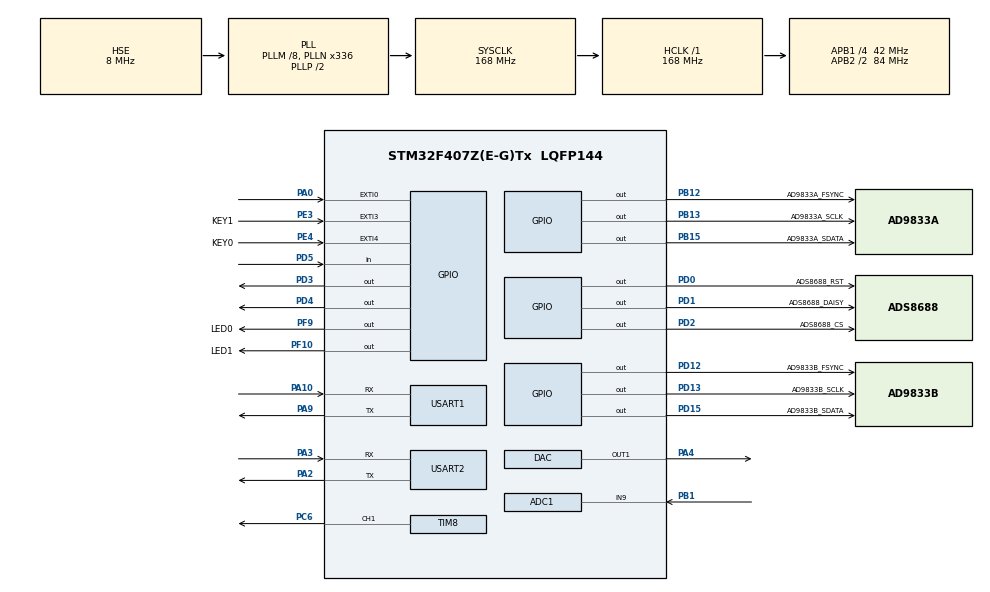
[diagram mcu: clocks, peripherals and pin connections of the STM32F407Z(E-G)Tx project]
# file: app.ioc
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ADC1.Channel-0\#ChannelRegularConversion=ADC_CHANNEL_9
ADC1.ExternalTrigConv=ADC_EXTERNALTRIGCONV_T3_TRGO
ADC1.NbrOfConversionFlag=1
ADC1.Rank-0\#ChannelRegularConversion=1
ADC1.SamplingTime-0\#ChannelRegularConversion=ADC_SAMPLETIME_3CYCLES
ADC1.master=1
Dma.ADC1.0.Direction=DMA_PERIPH_TO_MEMORY
Dma.ADC1.0.FIFOMode=DMA_FIFOMODE_DISABLE
Dma.ADC1.0.Instance=DMA2_Stream0
Dma.ADC1.0.MemDataAlignment=DMA_MDATAALIGN_HALFWORD
Dma.ADC1.0.MemInc=DMA_MINC_ENABLE
Dma.ADC1.0.Mode=DMA_NORMAL
Dma.ADC1.0.PeriphDataAlignment=DMA_PDATAALIGN_HALFWORD
Dma.ADC1.0.PeriphInc=DMA_PINC_DISABLE
Dma.ADC1.0.Priority=DMA_PRIORITY_HIGH
Dma.Request0=ADC1
Mcu.Family=STM32F4
Mcu.Name=STM32F407Z(E-G)Tx
Mcu.Package=LQFP144
NVIC.DMA2_Stream0_IRQn=true\:0\:0\:false\:false\:true\:false\:true\:true
NVIC.EXTI0_IRQn=true\:0\:0\:false\:false\:true\:true\:true\:true
NVIC.EXTI3_IRQn=true\:0\:0\:false\:false\:true\:true\:true\:true
NVIC.EXTI4_IRQn=true\:0\:0\:false\:false\:true\:true\:true\:true
NVIC.PriorityGroup=NVIC_PRIORITYGROUP_4
NVIC.TIM7_IRQn=true\:0\:0\:true\:false\:true\:true\:true\:true
NVIC.USART1_IRQn=true\:0\:0\:false\:false\:true\:true\:true\:true
NVIC.USART2_IRQn=true\:0\:0\:false\:false\:true\:true\:true\:true
PA0-WKUP.GPIO_ModeDefaultEXTI=GPIO_MODE_IT_RISING
PA0-WKUP.GPIO_PuPd=GPIO_PULLDOWN
PA0-WKUP.Signal=GPXTI0
PA10.GPIO_PuPd=GPIO_PULLUP
PA10.Mode=Asynchronous
PA10.Signal=USART1_RX
PA13.Mode=Serial_Wire
PA13.Signal=SYS_JTMS-SWDIO
PA14.Mode=Serial_Wire
PA14.Signal=SYS_JTCK-SWCLK
PA2.Mode=Asynchronous
PA2.Signal=USART2_TX
PA3.GPIO_PuPd=GPIO_PULLUP
PA3.GPIO_Speed=GPIO_SPEED_FREQ_VERY_HIGH
PA3.Mode=Asynchronous
PA3.Signal=USART2_RX
PA4.Signal=COMP_DAC1_group
PA9.Mode=Asynchronous
PA9.Signal=USART1_TX
PB1.Signal=ADCx_IN9
PB12.GPIO_Label=AD9833A_FSYNC
PB12.GPIO_Speed=GPIO_SPEED_FREQ_VERY_HIGH
PB12.Signal=GPIO_Output
PB13.GPIO_Label=AD9833A_SCLK
PB13.GPIO_Speed=GPIO_SPEED_FREQ_VERY_HIGH
PB13.Signal=GPIO_Output
PB15.GPIO_Label=AD9833A_SDATA
PB15.GPIO_Speed=GPIO_SPEED_FREQ_VERY_HIGH
PB15.Signal=GPIO_Output
PC6.Signal=S_TIM8_CH1
PD0.GPIO_Label=ADS8688_RST
PD0.GPIO_Speed=GPIO_SPEED_FREQ_VERY_HIGH
PD0.Signal=GPIO_Output
PD1.GPIO_Label=ADS8688_DAISY
PD1.GPIO_Speed=GPIO_SPEED_FREQ_VERY_HIGH
PD1.Signal=GPIO_Output
PD12.GPIO_Label=AD9833B_FSYNC
PD12.GPIO_Speed=GPIO_SPEED_FREQ_VERY_HIGH
PD12.Signal=GPIO_Output
PD13.GPIO_Label=AD9833B_SCLK
PD13.Signal=GPIO_Output
PD15.GPIO_Label=AD9833B_SDATA
PD15.GPIO_Speed=GPIO_SPEED_FREQ_VERY_HIGH
PD15.Signal=GPIO_Output
PD2.GPIO_Label=ADS8688_CS
PD2.GPIO_Speed=GPIO_SPEED_FREQ_VERY_HIGH
PD2.Signal=GPIO_Output
PD3.Signal=GPIO_Output
PD4.Signal=GPIO_Output
PD5.Signal=GPIO_Input
PE3.GPIO_Label=KEY1
PE3.GPIO_ModeDefaultEXTI=GPIO_MODE_IT_FALLING
PE3.GPIO_PuPd=GPIO_PULLUP
PE3.Signal=GPXTI3
PE4.GPIO_Label=KEY0
PE4.GPIO_ModeDefaultEXTI=GPIO_MODE_IT_FALLING
PE4.GPIO_PuPd=GPIO_PULLUP
PE4.Signal=GPXTI4
PF10.GPIO_Label=LED1
PF10.GPIO_Speed=GPIO_SPEED_FREQ_HIGH
PF10.Signal=GPIO_Output
PF9.GPIO_Label=LED0
PF9.GPIO_Speed=GPIO_SPEED_FREQ_HIGH
PF9.Signal=GPIO_Output
PH0-OSC_IN.Mode=HSE-External-Oscillator
PH0-OSC_IN.Signal=RCC_OSC_IN
PH1-OSC_OUT.Mode=HSE-External-Oscillator
PH1-OSC_OUT.Signal=RCC_OSC_OUT
ProjectManager.HeapSize=0x200
ProjectManager.StackSize=0x400
ProjectManager.TargetToolchain=CMake
RCC.48MHZClocksFreq_Value=84000000
RCC.AHBFreq_Value=168000000
RCC.APB1CLKDivider=RCC_HCLK_DIV4
RCC.APB1Freq_Value=42000000
RCC.APB1TimFreq_Value=84000000
RCC.APB2CLKDivider=RCC_HCLK_DIV2
RCC.APB2Freq_Value=84000000
RCC.APB2TimFreq_Value=168000000
RCC.CortexFreq_Value=168000000
RCC.HCLKFreq_Value=168000000
RCC.HSE_VALUE=8000000
RCC.HSI_VALUE=16000000
RCC.LSE_VALUE=32768
RCC.PLLM=8
RCC.PLLN=336
RCC.PLLSourceVirtual=RCC_PLLSOURCE_HSE
RCC.SYSCLKFreq_VALUE=168000000
RCC.SYSCLKSource=RCC_SYSCLKSOURCE_PLLCLK
RCC.VCOOutputFreq_Value=336000000
SH.ADCx_IN9.0=ADC1_IN9,IN9
SH.COMP_DAC1_group.0=DAC_OUT1,DAC_OUT1
SH.S_TIM8_CH1.0=TIM8_CH1,PWM Generation1 CH1
STMicroelectronics.X-CUBE-ALGOBUILD.1.4.0.LibraryCcDSPOoLibraryJjDSPOoLibrary=true
TIM3.TIM_MasterOutputTrigger=TIM_TRGO_UPDATE
TIM7.AutoReloadPreload=TIM_AUTORELOAD_PRELOAD_ENABLE
TIM7.Period=2000-1
TIM7.Prescaler=8400-1
TIM8.Channel-PWM\ Generation1\ CH1=TIM_CHANNEL_1
TIM8.Period=16
USART1.VirtualMode=VM_ASYNC
USART2.VirtualMode=VM_ASYNC
VP_STMicroelectronics.X-CUBE-ALGOBUILD_VS_DSPOoLibraryJjLibrary_1.4.0_1.4.0.Mode=DSPOoLibraryJjLibrary
VP_TIM3_VS_ClockSourceINT.Mode=Internal
VP_TIM6_VS_ClockSourceINT.Mode=Enable_Timer
VP_TIM6_VS_OPM.Mode=OPM_bit
VP_TIM7_VS_ClockSourceINT.Mode=Enable_Timer
VP_TIM8_VS_ClockSourceINT.Mode=Internal
board=custom

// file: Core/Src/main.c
/* USER CODE BEGIN Header */
/**
  ******************************************************************************
  * @file           : main.c
  * @brief          : Main program body
  *
  * 2025 电赛 G 题 — 电路模型探究装置 (基础部分 2/3/4)
  * 硬件: STM32F407, ADS8688(ADC), AD9833(DDS), AD603(VGA), AD8052(AMP)
  ******************************************************************************
  */
/* USER CODE END Header */
#include "main.h"
#include "adc.h"
#include "dac.h"
#include "dma.h"
#include "tim.h"
#include "usart.h"
#include "gpio.h"

/* USER CODE BEGIN Includes */
#include "arm_math.h"
#include "math.h"
#include <stdio.h>
#include <string.h>

/* 复用驱动 */
#include "AD9833.h"
#include "ADS8688.h"

/* 2025G 应用模块 */
#include "app_config.h"
#include "dds_output.h"
#include "adc_measure.h"
#include "transfer_calc.h"
#include "ui_basic.h"
#include "adva_learn.h"
#include "adva_replay.h"
#include "dsp_utils.h"
/* USER CODE END Includes */

/* USER CODE BEGIN PV */
extern DAC_HandleTypeDef hdac;
/* USER CODE END PV */

void SystemClock_Config(void);

/* USER CODE BEGIN 0 */

/* ===== USART1 中断回调: 串口屏逐字节接收 ===== */
void HAL_UART_RxCpltCallback(UART_HandleTypeDef *huart)
{
    if (huart->Instance == USART1) {
        UI_UART_RxCompleteCallback();
    }
}

/* ===== 按键 EXTI 回调 ===== */
void HAL_GPIO_EXTI_Callback(uint16_t GPIO_Pin)
{
    static uint32_t key_last_tick = 0;

    uint32_t now = HAL_GetTick();
    if (now - key_last_tick < 10) {
        return;
    }
    key_last_tick = now;

    if (GPIO_Pin == KEY0_Pin) {
        if (HAL_GPIO_ReadPin(KEY0_GPIO_Port, KEY0_Pin) == GPIO_PIN_RESET) {
            extern volatile uint8_t key;
            key = 1;
            UI_KeyCallback(0);  /* KEY0 → 发挥(1) 学习 */
        }
    } else if (GPIO_Pin == KEY1_Pin) {
        if (HAL_GPIO_ReadPin(KEY1_GPIO_Port, KEY1_Pin) == GPIO_PIN_RESET) {
            UI_KeyCallback(1);
        }
    }
}

/* ===== 闭环校准: 把当前频率的输出幅度调到 target_vpp ===== */
/* 对当前频率输出信号，测实际 Vpp；不足则逐次加 VGA 增益直到达标。返回实际 Vpp */
static float CalibrateToVpp(uint32_t freq_hz, float target_vpp)
{
    float current_gain_linear = 1.0f;
    float measured_vpp = 0.0f;
    uint8_t max_attempts = 10;

    DDS_SetFrequency(freq_hz);

    for (uint8_t attempt = 0; attempt < max_attempts; attempt++) {
        VGA_SetGain_Linear(current_gain_linear);
        HAL_Delay(50);

        ADC_Measure_Start(0);  /* v_suoxiang[0]=丝印CH1(THS4001) */
        extern volatile uint8_t ads8688_sample_request;
        while (!ADC_Measure_IsDone()) {
            ads8688_sample_request = 1;
            ADS8688_Service();
            ADC_Measure_Service();
        }

        ADC_MeasureResult res = ADC_Measure_GetResult();
        measured_vpp = res.vpp;

        printf("[CAL] freq=%luHz gain=%.2f vpp=%.3fV err=%.1f%%\r\n",
               freq_hz, current_gain_linear, measured_vpp,
               100.0f * (measured_vpp - target_vpp) / target_vpp);

        float err = (measured_vpp - target_vpp) / target_vpp;
        if (fabsf(err) < 0.02f) break;

        float ratio = target_vpp / (measured_vpp + 0.001f);
        if (ratio > 1.3f) ratio = 1.3f;
        if (ratio < 0.7f) ratio = 0.7f;
        current_gain_linear *= ratio;
        if (current_gain_linear > 100.0f) current_gain_linear = 100.0f;
        if (current_gain_linear < 0.001f) current_gain_linear = 0.001f;
    }

    return measured_vpp;
}

/* ===== 把【装置自身输出】闭环调到 target_vpp（基本3/4 用） =====
 * 题目说明2: 基本3/4不能测电路输出。所以这里只测 CH0=装置自身输出(允许),
 * 双向比例逼近目标;电路输出端不连接。返回实测装置输出 Vpp。 */
static float SetDeviceOutputVpp(uint32_t freq_hz, float target_vpp)
{
    float gain = 1.0f;
    float measured = 0.0f;

    DDS_SetFrequency(freq_hz);

    for (uint8_t attempt = 0; attempt < 8; attempt++) {
        VGA_SetGain_Linear(gain);
        HAL_Delay(50);

        ADC_Measure_Start(1);  /* CH1=丝印CH2, CH0坏了 */
        extern volatile uint8_t ads8688_sample_request;
        while (!ADC_Measure_IsDone()) {
            ads8688_sample_request = 1;
            ADS8688_Service();
            ADC_Measure_Service();
        }
        measured = ADC_Measure_GetResult().vpp;

        printf("[SET] freq=%luHz gain=%.3f dev_vpp=%.3fV (目标%.3f)\r\n",
               freq_hz, gain, measured, target_vpp);

        if (measured < 0.001f) break;

        float err = (measured - target_vpp) / target_vpp;
        if (fabsf(err) < 0.02f) break;   /* 收敛到 2% 即可 */

        gain *= target_vpp / measured;   /* 双向比例调整(可增可减) */
        if (gain > 126.0f) gain = 126.0f;
        if (gain < 0.001f) gain = 0.001f;
    }

    return measured;
}

/* ===== 基本(2): 设定频率(步长100Hz,最高>=1MHz)，输出稳定 3.5Vpp(要求>=3V) ===== */
static void RunBasic2(void)
{
    uint32_t freq = g_set_freq_hz;

    printf("=== 基本(2): %luHz → 输出 %.3fVpp ===\r\n", freq, OUTPUT_VPP_TARGET);

    float vpp = CalibrateToVpp(freq, OUTPUT_VPP_TARGET);

    printf("  实测输出: %.3fVpp (目标 %.3fVpp, 要求 >=%.2fV)\r\n",
           vpp, OUTPUT_VPP_TARGET, OUTPUT_VPP_MIN);

    UI_UpdateDisplay(freq, vpp);
    g_mode = MODE_IDLE;
}

/* ===== 基本(3): 1kHz → 已知电路输出 2Vpp =====
 *
 * 合规架构（题目"说明2": 装置与电路输出端【无反馈连接】,不能测电路输出）:
 *   1. 电路增益 |H(1kHz)| ← CircuitGain(基本1实测表 或 H(s)公式)
 *   2. 需要的装置输出 = 2V / |H|
 *   3. 对【装置自身输出】闭环调准(测CH0,允许)
 *   4. 电路按 H(s) 开环产生 2V；电路输出只接示波器
 *
 * 参考交叉校验(仅量级对照): |H(1kHz)|≈2.52, 需装置输出≈0.79Vpp(2/2.52)。
 */
static void RunBasic3(void)
{
    uint32_t freq = 1000;
    float circuit_target = 2.0f;

    printf("=== 基本(3): 1kHz → 已知电路 2Vpp ===\r\n");

    float hgain = CircuitGain(freq);
    if (hgain < 1e-6f) hgain = 1e-6f;
    float dev_target = circuit_target / hgain;      /* 需要的装置输出 */
    if (dev_target > OUTPUT_VPP_MAX) dev_target = OUTPUT_VPP_MAX;
    printf("  |H(1kHz)|=%.4f → 需装置输出 %.3fVpp\r\n", hgain, dev_target);

    float dev_actual = SetDeviceOutputVpp(freq, dev_target);
    float circuit_est = dev_actual * hgain;         /* 预计电路输出(未实测,仅显示) */

    printf("  装置输出实测=%.3fVpp → 预计电路输出≈%.3fVpp\r\n", dev_actual, circuit_est);

    UI_UpdateDisplay(freq, circuit_est);
    g_mode = MODE_IDLE;
}

/* ===== 基本(4): 用户设频(100~3kHz)+设压(1~2V) → 已知电路输出 =====
 * 合规架构同基本3: 纯前馈(用 |H| 反推需要的装置输出) + 对装置自身输出闭环。
 * 全程不测电路输出、电路输出端不连接装置。 */
static void RunBasic4(void)
{
    uint32_t freq = g_set_freq_hz;
    float circuit_target = g_set_vpp;

    printf("=== 基本(4): %luHz → 已知电路 %.3fVpp ===\r\n", freq, circuit_target);

    float hgain = CircuitGain(freq);
    if (hgain < 1e-6f) hgain = 1e-6f;
    float dev_target = circuit_target / hgain;      /* 需要的装置输出 */
    if (dev_target > OUTPUT_VPP_MAX) dev_target = OUTPUT_VPP_MAX;
    printf("  |H(%luHz)|=%.4f → 需装置输出 %.3fVpp\r\n", freq, hgain, dev_target);

    float dev_actual = SetDeviceOutputVpp(freq, dev_target);
    float circuit_est = dev_actual * hgain;         /* 预计电路输出(未实测,仅显示) */

    printf("  装置输出实测=%.3fVpp → 预计电路输出≈%.3fVpp\r\n", dev_actual, circuit_est);

    UI_UpdateDisplay(freq, circuit_est);
    g_mode = MODE_IDLE;
}
/* USER CODE END 0 */

int main(void)
{

  /* MCU Configuration--------------------------------------------------------*/

  /* Reset of all peripherals, Initializes the Flash interface and the Systick. */
  HAL_Init();

  /* Configure the system clock */
  SystemClock_Config();

  /* Initialize all configured peripherals */
  MX_GPIO_Init();
  MX_DMA_Init();
  MX_ADC1_Init();
  MX_USART1_UART_Init();
  MX_USART2_UART_Init();
  MX_TIM3_Init();
  MX_TIM7_Init();
  MX_DAC_Init();
  MX_TIM6_Init();
  MX_TIM8_Init();
  /* USER CODE BEGIN 2 */
  setvbuf(stdout, NULL, _IONBF, 0);   /* printf 无缓冲，立即发送 */

  printf("2025G 电路模型探究装置 启动\r\n");

  /* ---- 应用模块初始化 ---- */
  set_clock();         /* 给AD9833提供时钟 MCO2(PC9) */
  DDS_Output_Init();
  ADC_Measure_Init();

  ADS8688_Status_t ads_status = ads8688_set();
  if (ads_status != ADS8688_OK) {
      printf("ADS8688 init failed: %d\r\n", (int)ads_status);
  } else {
      printf("ADS8688 OK\r\n");
  }

  dsp_init();        /* DSP工具初始化(发挥部分FFT/窗) */
  UI_Init();
  AdvLearn_Init();   /* 发挥(1)学习模块初始化 */
  AdvReplay_Init();  /* 发挥(2)复现模块初始化 */
  UI_UpdateDisplay(1000, 2.0f);

  /* DAC CH1 显式配置（CubexMX 只配了 CH2） */
  {
      /* PA4 配置为模拟模式 */
      __HAL_RCC_GPIOA_CLK_ENABLE();
      GPIO_InitTypeDef pa4_cfg = {0};
      pa4_cfg.Pin = GPIO_PIN_4;
      pa4_cfg.Mode = GPIO_MODE_ANALOG;
      pa4_cfg.Pull = GPIO_NOPULL;
      HAL_GPIO_Init(GPIOA, &pa4_cfg);

      DAC_ChannelConfTypeDef ch1_cfg = {0};
      ch1_cfg.DAC_Trigger = DAC_TRIGGER_NONE;
      ch1_cfg.DAC_OutputBuffer = DAC_OUTPUTBUFFER_ENABLE;
      HAL_DAC_ConfigChannel(&hdac, &ch1_cfg, DAC_CHANNEL_1);
  }

    {
        /* 启动后不打印电压, 等按键触发 */
        extern volatile uint8_t ads8688_sample_request;
        for (int i = 0; i < 100; i++) {
            ads8688_sample_request = 1;
            ADS8688_Service();   /* 预热auto-seq */
        }
    }
    printf("KEY0=校准 KEY1=测量\r\n");
    DDS_SetFrequency(1000);
    VGA_SetGain_Linear(1.0f);
    HAL_GPIO_WritePin(LED0_GPIO_Port, LED0_Pin, GPIO_PIN_SET);
  /* USER CODE END 2 */

  /* Infinite loop */
  /* USER CODE BEGIN WHILE */
  while (1)
  {
    extern volatile uint8_t ads8688_sample_request;
    ads8688_sample_request = 1;
    ADS8688_Service();       /* 维持 ADC 数据就绪 */
    ADC_Measure_Service();   /* 采集中则收集数据点 */

    UI_Service();            /* 串口屏命令处理 */
    AdvLearn_Service();      /* 发挥(1)学习状态机推进(IDLE时快速返回) */
    AdvReplay_Service();     /* 发挥(2)复现状态机推进(非激活时快速返回) */

    /* 非复现模式时自动停止 DAC 输出 */
    if (g_mode != MODE_REPLAY && AdvReplay_IsRunning()) {
        AdvReplay_Stop();
    }

    switch (g_mode) {
    case MODE_CALIBRATE:
        HAL_GPIO_WritePin(LED1_GPIO_Port, LED1_Pin, GPIO_PIN_RESET);
        RunBasic2();
        HAL_GPIO_WritePin(LED1_GPIO_Port, LED1_Pin, GPIO_PIN_SET);
        break;

    case MODE_BASIC3:
        HAL_GPIO_WritePin(LED1_GPIO_Port, LED1_Pin, GPIO_PIN_RESET);
        RunBasic3();
        HAL_GPIO_WritePin(LED1_GPIO_Port, LED1_Pin, GPIO_PIN_SET);
        break;

    case MODE_BASIC4:
        HAL_GPIO_WritePin(LED1_GPIO_Port, LED1_Pin, GPIO_PIN_RESET);
        RunBasic4();
        HAL_GPIO_WritePin(LED1_GPIO_Port, LED1_Pin, GPIO_PIN_SET);
        break;

    case MODE_LEARN:
        HAL_GPIO_WritePin(LED1_GPIO_Port, LED1_Pin, GPIO_PIN_RESET);
        if (AdvLearn_IsDone()) {
            HAL_GPIO_WritePin(LED1_GPIO_Port, LED1_Pin, GPIO_PIN_SET);
            g_mode = MODE_IDLE;
        } else {
            AdvLearn_Start();   /* only IDLE -> phase A; DONE cannot auto-restart */
        }
        break;

    case MODE_REPLAY:
        HAL_GPIO_WritePin(LED1_GPIO_Port, LED1_Pin, GPIO_PIN_RESET);
        AdvReplay_Start();  /* 首次进入复现模式,启动(幂等) */
        if (!AdvReplay_IsRunning() && !AdvLearn_GetModel()->valid) {
            HAL_GPIO_WritePin(LED1_GPIO_Port, LED1_Pin, GPIO_PIN_SET);
            g_mode = MODE_IDLE;
        }
        /* 复现连续运行, 0x00 或按键切回 IDLE 才停止 */
        break;

    default:
        break;
    }
    /* USER CODE END WHILE */

  }
}

void SystemClock_Config(void)
{
  RCC_OscInitTypeDef RCC_OscInitStruct = {0};
  RCC_ClkInitTypeDef RCC_ClkInitStruct = {0};

  /** Configure the main internal regulator output voltage
  */
  __HAL_RCC_PWR_CLK_ENABLE();
  __HAL_PWR_VOLTAGESCALING_CONFIG(PWR_REGULATOR_VOLTAGE_SCALE1);

  /** Initializes the RCC Oscillators according to the specified parameters
  * in the RCC_OscInitTypeDef structure.
  */
  RCC_OscInitStruct.OscillatorType = RCC_OSCILLATORTYPE_HSE;
  RCC_OscInitStruct.HSEState = RCC_HSE_ON;
  RCC_OscInitStruct.PLL.PLLState = RCC_PLL_ON;
  RCC_OscInitStruct.PLL.PLLSource = RCC_PLLSOURCE_HSE;
  RCC_OscInitStruct.PLL.PLLM = 8;
  RCC_OscInitStruct.PLL.PLLN = 336;
  RCC_OscInitStruct.PLL.PLLP = RCC_PLLP_DIV2;
  RCC_OscInitStruct.PLL.PLLQ = 4;
  if (HAL_RCC_OscConfig(&RCC_OscInitStruct) != HAL_OK)
  {
    Error_Handler();
  }

  /** Initializes the CPU, AHB and APB buses clocks
  */
  RCC_ClkInitStruct.ClockType = RCC_CLOCKTYPE_HCLK|RCC_CLOCKTYPE_SYSCLK
                              |RCC_CLOCKTYPE_PCLK1|RCC_CLOCKTYPE_PCLK2;
  RCC_ClkInitStruct.SYSCLKSource = RCC_SYSCLKSOURCE_PLLCLK;
  RCC_ClkInitStruct.AHBCLKDivider = RCC_SYSCLK_DIV1;
  RCC_ClkInitStruct.APB1CLKDivider = RCC_HCLK_DIV4;
  RCC_ClkInitStruct.APB2CLKDivider = RCC_HCLK_DIV2;

  if (HAL_RCC_ClockConfig(&RCC_ClkInitStruct, FLASH_LATENCY_5) != HAL_OK)
  {
    Error_Handler();
  }
}

void Error_Handler(void)
{
  __disable_irq();
  while (1)
  {
  }
}
